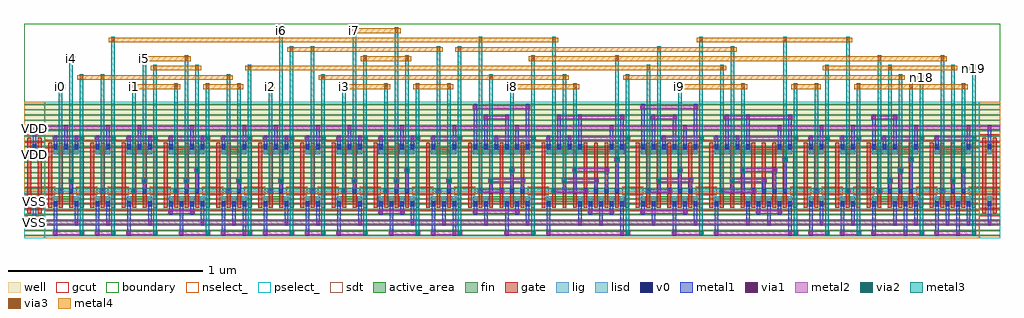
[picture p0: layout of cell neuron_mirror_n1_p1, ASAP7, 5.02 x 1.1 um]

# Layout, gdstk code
import gdstk
lib = gdstk.Library(unit=1e-6, precision=2.5e-10)
def R(c, l, rs):  # rectangles x0, y0, x1, y1
    for r in rs: c.add(gdstk.rectangle(r[:2], r[2:], *l))
def A(c, l, x, y, w, h, nx, ny, dx, dy):  # array of equal rectangles
    R(c, l, [(x+i*dx, y+j*dy, x+i*dx+w, y+j*dy+h) for i in range(nx) for j in range(ny)])
well = (1, 0)
fin = (2, 0)
gate = (7, 0)
gcut = (10, 0)
active_area = (11, 0)
nselect_ = (12, 0)
pselect_ = (13, 0)
lig = (16, 0)
lisd = (17, 0)
v0 = (18, 0)
metal1 = (19, 0)
metal2 = (20, 0)
via1 = (21, 0)
via2 = (25, 0)
metal3 = (30, 0)
via3 = (35, 0)
metal4 = (40, 0)
sdt = (88, 0)
boundary = (100, 0)

neuron_mirror_n1_p1 = lib.new_cell('neuron_mirror_n1_p1')
R(neuron_mirror_n1_p1, well, [(0,0.243,0.108,0.702), (0.108,0.243,0.324,0.702), (0.324,0.243,0.486,0.702), (0.486,0.243,0.702,0.702), (0.702,0.243,0.972,0.702), (0.972,0.243,1.188,0.702), (1.188,0.243,1.404,0.702), (1.404,0.243,1.566,0.702), (1.566,0.243,1.782,0.702), (1.782,0.243,2.052,0.702), (2.052,0.243,2.268,0.702), (2.268,0.243,2.646,0.702), (2.646,0.243,3.132,0.702), (3.132,0.243,3.51,0.702), (3.51,0.243,3.996,0.702), (3.996,0.243,4.158,0.702), (4.158,0.243,4.32,0.702), (4.32,0.243,4.644,0.702), (4.644,0.243,4.914,0.702), (4.914,0.243,5.022,0.702)])
A(neuron_mirror_n1_p1, fin, 0, 0.01, 0.108, 0.007, 1, 26, 0, 0.027)
A(neuron_mirror_n1_p1, fin, 0.108, 0.01, 0.216, 0.007, 1, 26, 0, 0.027)
A(neuron_mirror_n1_p1, fin, 0.324, 0.01, 0.162, 0.007, 1, 26, 0, 0.027)
A(neuron_mirror_n1_p1, fin, 0.486, 0.01, 0.216, 0.007, 1, 26, 0, 0.027)
A(neuron_mirror_n1_p1, fin, 0.702, 0.01, 0.27, 0.007, 1, 26, 0, 0.027)
A(neuron_mirror_n1_p1, fin, 0.972, 0.01, 0.216, 0.007, 1, 26, 0, 0.027)
A(neuron_mirror_n1_p1, fin, 1.188, 0.01, 0.216, 0.007, 1, 26, 0, 0.027)
A(neuron_mirror_n1_p1, fin, 1.404, 0.01, 0.162, 0.007, 1, 26, 0, 0.027)
A(neuron_mirror_n1_p1, fin, 1.566, 0.01, 0.216, 0.007, 1, 26, 0, 0.027)
A(neuron_mirror_n1_p1, fin, 1.782, 0.01, 0.27, 0.007, 1, 26, 0, 0.027)
A(neuron_mirror_n1_p1, fin, 2.052, 0.01, 0.216, 0.007, 1, 26, 0, 0.027)
A(neuron_mirror_n1_p1, fin, 2.268, 0.01, 0.378, 0.007, 1, 26, 0, 0.027)
A(neuron_mirror_n1_p1, fin, 2.646, 0.01, 0.486, 0.007, 1, 26, 0, 0.027)
A(neuron_mirror_n1_p1, fin, 3.132, 0.01, 0.378, 0.007, 1, 26, 0, 0.027)
A(neuron_mirror_n1_p1, fin, 3.51, 0.01, 0.486, 0.007, 1, 26, 0, 0.027)
A(neuron_mirror_n1_p1, fin, 3.996, 0.01, 0.162, 0.007, 1, 26, 0, 0.027)
A(neuron_mirror_n1_p1, fin, 4.158, 0.01, 0.162, 0.007, 1, 26, 0, 0.027)
A(neuron_mirror_n1_p1, fin, 4.32, 0.01, 0.324, 0.007, 1, 26, 0, 0.027)
A(neuron_mirror_n1_p1, fin, 4.644, 0.01, 0.27, 0.007, 1, 26, 0, 0.027)
A(neuron_mirror_n1_p1, fin, 4.914, 0.01, 0.108, 0.007, 1, 26, 0, 0.027)
A(neuron_mirror_n1_p1, gate, 0.125, 0.157, 0.02, 0.334, 89, 1, 0.054, 0)
R(neuron_mirror_n1_p1, gate, [(0.017,0.13,0.037,0.518), (0.071,0.13,0.091,0.518), (4.931,0.13,4.951,0.518), (4.985,0.13,5.005,0.518)])
R(neuron_mirror_n1_p1, gcut, [(0,0.113,0.108,0.157), (4.914,0.113,5.022,0.157), (0.108,0.14,0.324,0.184), (0.324,0.14,0.486,0.184), (0.486,0.14,0.702,0.184), (0.702,0.14,0.972,0.184), (0.972,0.14,1.188,0.184), (1.188,0.14,1.404,0.184), (1.404,0.14,1.566,0.184), (1.566,0.14,1.782,0.184), (1.782,0.14,2.052,0.184), (2.052,0.14,2.268,0.184), (2.268,0.14,2.646,0.184), (2.646,0.14,3.132,0.184), (3.132,0.14,3.51,0.184), (3.51,0.14,3.996,0.184), (3.996,0.14,4.158,0.184), (4.158,0.14,4.32,0.184), (4.32,0.14,4.644,0.184), (4.644,0.14,4.914,0.184), (0,0.221,0.108,0.265), (0.108,0.221,0.162,0.265), (0.27,0.221,0.324,0.265), (0.324,0.221,0.378,0.265), (0.432,0.221,0.486,0.265), (0.486,0.221,0.54,0.265), (0.648,0.221,0.702,0.265), (0.702,0.221,0.756,0.265), (0.918,0.221,0.972,0.265), (0.972,0.221,1.026,0.265), (1.134,0.221,1.188,0.265), (1.188,0.221,1.242,0.265), (1.35,0.221,1.404,0.265), (1.404,0.221,1.458,0.265), (1.512,0.221,1.566,0.265), (1.566,0.221,1.62,0.265), (1.728,0.221,1.782,0.265), (1.782,0.221,1.836,0.265), (1.998,0.221,2.052,0.265), (2.052,0.221,2.106,0.265), (2.214,0.221,2.268,0.265), (2.268,0.221,2.322,0.265), (2.592,0.221,2.646,0.265), (2.646,0.221,2.7,0.265), (3.078,0.221,3.132,0.265), (3.132,0.221,3.186,0.265), (3.456,0.221,3.51,0.265), (3.51,0.221,3.564,0.265), (3.942,0.221,3.996,0.265), (3.996,0.221,4.05,0.265), (4.104,0.221,4.158,0.265), (4.158,0.221,4.212,0.265), (4.266,0.221,4.32,0.265), (4.32,0.221,4.374,0.265), (4.59,0.221,4.644,0.265), (4.644,0.221,4.698,0.265), (4.86,0.221,4.914,0.265), (4.914,0.221,5.022,0.265), (0.108,0.464,0.324,0.508), (0.324,0.464,0.486,0.508), (0.486,0.464,0.702,0.508), (0.702,0.464,0.972,0.508), (0.972,0.464,1.188,0.508), (1.188,0.464,1.404,0.508), (1.404,0.464,1.566,0.508), (1.566,0.464,1.782,0.508), (1.782,0.464,2.052,0.508), (2.052,0.464,2.268,0.508), (2.268,0.464,2.646,0.508), (2.646,0.464,3.132,0.508), (3.132,0.464,3.51,0.508), (3.51,0.464,3.996,0.508), (3.996,0.464,4.158,0.508), (4.158,0.464,4.32,0.508), (4.32,0.464,4.644,0.508), (4.644,0.464,4.914,0.508), (0,0.491,0.108,0.535), (4.914,0.491,5.022,0.535)])
R(neuron_mirror_n1_p1, active_area, [(0.046,0.162,0.062,0.216), (4.96,0.162,4.976,0.216), (0.154,0.189,0.278,0.216), (0.37,0.189,0.44,0.216), (0.532,0.189,0.656,0.216), (0.748,0.189,0.926,0.216), (1.018,0.189,1.142,0.216), (1.234,0.189,1.358,0.216), (1.45,0.189,1.52,0.216), (1.612,0.189,1.736,0.216), (1.828,0.189,2.006,0.216), (2.098,0.189,2.222,0.216), (2.314,0.189,2.6,0.216), (2.692,0.189,3.086,0.216), (3.178,0.189,3.464,0.216), (3.556,0.189,3.95,0.216), (4.042,0.189,4.112,0.216), (4.204,0.189,4.274,0.216), (4.366,0.189,4.598,0.216), (4.69,0.189,4.868,0.216), (0.046,0.432,0.062,0.486), (0.154,0.432,0.278,0.459), (0.37,0.432,0.44,0.459), (0.532,0.432,0.656,0.459), (0.748,0.432,0.926,0.459), (1.018,0.432,1.142,0.459), (1.234,0.432,1.358,0.459), (1.45,0.432,1.52,0.459), (1.612,0.432,1.736,0.459), (1.828,0.432,2.006,0.459), (2.098,0.432,2.222,0.459), (2.314,0.432,2.6,0.459), (2.692,0.432,3.086,0.459), (3.178,0.432,3.464,0.459), (3.556,0.432,3.95,0.459), (4.042,0.432,4.112,0.459), (4.204,0.432,4.274,0.459), (4.366,0.432,4.598,0.459), (4.69,0.432,4.868,0.459), (4.96,0.432,4.976,0.486)])
R(neuron_mirror_n1_p1, nselect_, [(0.108,0,0.324,0.243), (0.324,0,0.486,0.243), (0.486,0,0.702,0.243), (0.702,0,0.972,0.243), (0.972,0,1.188,0.243), (1.188,0,1.404,0.243), (1.404,0,1.566,0.243), (1.566,0,1.782,0.243), (1.782,0,2.052,0.243), (2.052,0,2.268,0.243), (2.268,0,2.646,0.243), (2.646,0,3.132,0.243), (3.132,0,3.51,0.243), (3.51,0,3.996,0.243), (3.996,0,4.158,0.243), (4.158,0,4.32,0.243), (4.32,0,4.644,0.243), (4.644,0,4.914,0.243), (0,0.243,0.108,0.702), (4.914,0.243,5.022,0.702)])
R(neuron_mirror_n1_p1, pselect_, [(0,0,0.108,0.243), (4.914,0,5.022,0.243), (0.108,0.243,0.324,0.702), (0.324,0.243,0.486,0.702), (0.486,0.243,0.702,0.702), (0.702,0.243,0.972,0.702), (0.972,0.243,1.188,0.702), (1.188,0.243,1.404,0.702), (1.404,0.243,1.566,0.702), (1.566,0.243,1.782,0.702), (1.782,0.243,2.052,0.702), (2.052,0.243,2.268,0.702), (2.268,0.243,2.646,0.702), (2.646,0.243,3.132,0.702), (3.132,0.243,3.51,0.702), (3.51,0.243,3.996,0.702), (3.996,0.243,4.158,0.702), (4.158,0.243,4.32,0.702), (4.32,0.243,4.644,0.702), (4.644,0.243,4.914,0.702)])
A(neuron_mirror_n1_p1, lig, 0.232, 0.232, 0.022, 0.022, 3, 1, 0.162, 0)
A(neuron_mirror_n1_p1, lig, 0.772, 0.232, 0.022, 0.022, 3, 1, 0.054, 0)
A(neuron_mirror_n1_p1, lig, 1.312, 0.232, 0.022, 0.022, 3, 1, 0.162, 0)
A(neuron_mirror_n1_p1, lig, 1.852, 0.232, 0.022, 0.022, 3, 1, 0.054, 0)
A(neuron_mirror_n1_p1, lig, 2.338, 0.232, 0.022, 0.022, 5, 1, 0.054, 0)
A(neuron_mirror_n1_p1, lig, 2.716, 0.232, 0.022, 0.022, 7, 1, 0.054, 0)
A(neuron_mirror_n1_p1, lig, 3.202, 0.232, 0.022, 0.022, 5, 1, 0.054, 0)
A(neuron_mirror_n1_p1, lig, 3.58, 0.232, 0.022, 0.022, 7, 1, 0.054, 0)
A(neuron_mirror_n1_p1, lig, 4.066, 0.232, 0.022, 0.022, 3, 1, 0.162, 0)
A(neuron_mirror_n1_p1, lig, 4.444, 0.232, 0.022, 0.022, 3, 1, 0.054, 0)
A(neuron_mirror_n1_p1, lig, 4.714, 0.232, 0.022, 0.022, 3, 1, 0.054, 0)
R(neuron_mirror_n1_p1, lig, [(0.178,0.232,0.2,0.254), (0.61,0.232,0.632,0.254), (1.042,0.232,1.064,0.254), (1.096,0.232,1.118,0.254), (1.258,0.232,1.28,0.254), (1.69,0.232,1.712,0.254), (2.122,0.232,2.144,0.254), (2.176,0.232,2.198,0.254)])
A(neuron_mirror_n1_p1, lisd, 0.042, 0.162, 0.024, 0.054, 4, 1, 0.108, 0)
A(neuron_mirror_n1_p1, lisd, 0.42, 0.162, 0.024, 0.054, 4, 1, 0.108, 0)
A(neuron_mirror_n1_p1, lisd, 0.798, 0.162, 0.024, 0.054, 3, 1, 0.054, 0)
A(neuron_mirror_n1_p1, lisd, 1.014, 0.162, 0.024, 0.054, 3, 1, 0.054, 0)
A(neuron_mirror_n1_p1, lisd, 1.23, 0.162, 0.024, 0.054, 3, 1, 0.108, 0)
A(neuron_mirror_n1_p1, lisd, 1.5, 0.162, 0.024, 0.054, 4, 1, 0.108, 0)
A(neuron_mirror_n1_p1, lisd, 1.878, 0.162, 0.024, 0.054, 3, 1, 0.054, 0)
A(neuron_mirror_n1_p1, lisd, 2.094, 0.162, 0.024, 0.054, 3, 1, 0.054, 0)
A(neuron_mirror_n1_p1, lisd, 2.472, 0.162, 0.024, 0.054, 3, 1, 0.054, 0)
A(neuron_mirror_n1_p1, lisd, 2.85, 0.162, 0.024, 0.054, 5, 1, 0.054, 0)
A(neuron_mirror_n1_p1, lisd, 3.336, 0.162, 0.024, 0.054, 3, 1, 0.054, 0)
A(neuron_mirror_n1_p1, lisd, 3.714, 0.162, 0.024, 0.054, 5, 1, 0.054, 0)
A(neuron_mirror_n1_p1, lisd, 4.254, 0.162, 0.024, 0.054, 3, 1, 0.108, 0)
A(neuron_mirror_n1_p1, lisd, 4.686, 0.162, 0.024, 0.054, 4, 1, 0.054, 0)
A(neuron_mirror_n1_p1, lisd, 0.15, 0.432, 0.024, 0.054, 3, 1, 0.054, 0)
A(neuron_mirror_n1_p1, lisd, 0.528, 0.432, 0.024, 0.054, 3, 1, 0.054, 0)
A(neuron_mirror_n1_p1, lisd, 0.906, 0.432, 0.024, 0.054, 4, 1, 0.108, 0)
A(neuron_mirror_n1_p1, lisd, 1.608, 0.432, 0.024, 0.054, 3, 1, 0.054, 0)
A(neuron_mirror_n1_p1, lisd, 1.986, 0.432, 0.024, 0.054, 4, 1, 0.108, 0)
A(neuron_mirror_n1_p1, lisd, 2.364, 0.432, 0.024, 0.054, 5, 1, 0.054, 0)
A(neuron_mirror_n1_p1, lisd, 2.688, 0.432, 0.024, 0.054, 4, 1, 0.054, 0)
A(neuron_mirror_n1_p1, lisd, 3.174, 0.432, 0.024, 0.054, 6, 1, 0.054, 0)
A(neuron_mirror_n1_p1, lisd, 3.552, 0.432, 0.024, 0.054, 4, 1, 0.054, 0)
A(neuron_mirror_n1_p1, lisd, 4.362, 0.432, 0.024, 0.054, 3, 1, 0.054, 0)
R(neuron_mirror_n1_p1, lisd, [(2.31,0.162,2.334,0.216), (2.364,0.162,2.388,0.216), (2.688,0.162,2.712,0.216), (3.174,0.162,3.198,0.216), (3.228,0.162,3.252,0.216), (3.552,0.162,3.576,0.216), (4.038,0.162,4.062,0.216), (4.092,0.162,4.116,0.216), (4.2,0.162,4.224,0.216), (4.524,0.162,4.548,0.216), (4.578,0.162,4.602,0.216), (4.956,0.162,4.98,0.216), (0.042,0.432,0.066,0.486), (0.366,0.432,0.39,0.486), (0.42,0.432,0.444,0.486), (0.744,0.432,0.768,0.486), (0.852,0.432,0.876,0.486), (1.284,0.432,1.308,0.486), (1.338,0.432,1.362,0.486), (1.446,0.432,1.47,0.486), (1.5,0.432,1.524,0.486), (1.824,0.432,1.848,0.486), (1.932,0.432,1.956,0.486), (3.012,0.432,3.036,0.486), (3.066,0.432,3.09,0.486), (3.876,0.432,3.9,0.486), (3.93,0.432,3.954,0.486), (4.038,0.432,4.062,0.486), (4.092,0.432,4.116,0.486), (4.2,0.432,4.224,0.486), (4.254,0.432,4.278,0.486), (4.578,0.432,4.602,0.486), (4.686,0.432,4.71,0.486), (4.848,0.432,4.872,0.486), (4.956,0.432,4.98,0.486)])
A(neuron_mirror_n1_p1, v0, 0.045, 0.1665, 0.018, 0.018, 4, 1, 0.108, 0)
A(neuron_mirror_n1_p1, v0, 0.423, 0.1665, 0.018, 0.018, 4, 1, 0.108, 0)
A(neuron_mirror_n1_p1, v0, 0.801, 0.1665, 0.018, 0.018, 3, 1, 0.054, 0)
A(neuron_mirror_n1_p1, v0, 1.017, 0.1665, 0.018, 0.018, 3, 1, 0.054, 0)
A(neuron_mirror_n1_p1, v0, 1.233, 0.1665, 0.018, 0.018, 3, 1, 0.108, 0)
A(neuron_mirror_n1_p1, v0, 1.503, 0.1665, 0.018, 0.018, 4, 1, 0.108, 0)
A(neuron_mirror_n1_p1, v0, 1.881, 0.1665, 0.018, 0.018, 3, 1, 0.054, 0)
A(neuron_mirror_n1_p1, v0, 2.097, 0.1665, 0.018, 0.018, 3, 1, 0.054, 0)
A(neuron_mirror_n1_p1, v0, 2.475, 0.1665, 0.018, 0.018, 3, 1, 0.054, 0)
A(neuron_mirror_n1_p1, v0, 2.853, 0.1665, 0.018, 0.018, 5, 1, 0.054, 0)
A(neuron_mirror_n1_p1, v0, 3.339, 0.1665, 0.018, 0.018, 3, 1, 0.054, 0)
A(neuron_mirror_n1_p1, v0, 3.717, 0.1665, 0.018, 0.018, 5, 1, 0.054, 0)
A(neuron_mirror_n1_p1, v0, 4.257, 0.1665, 0.018, 0.018, 3, 1, 0.108, 0)
A(neuron_mirror_n1_p1, v0, 4.689, 0.1665, 0.018, 0.018, 4, 1, 0.054, 0)
A(neuron_mirror_n1_p1, v0, 0.234, 0.234, 0.018, 0.018, 3, 1, 0.162, 0)
A(neuron_mirror_n1_p1, v0, 0.774, 0.234, 0.018, 0.018, 3, 1, 0.054, 0)
A(neuron_mirror_n1_p1, v0, 1.314, 0.234, 0.018, 0.018, 3, 1, 0.162, 0)
A(neuron_mirror_n1_p1, v0, 1.854, 0.234, 0.018, 0.018, 3, 1, 0.054, 0)
A(neuron_mirror_n1_p1, v0, 2.34, 0.234, 0.018, 0.018, 5, 1, 0.054, 0)
A(neuron_mirror_n1_p1, v0, 2.718, 0.234, 0.018, 0.018, 7, 1, 0.054, 0)
A(neuron_mirror_n1_p1, v0, 3.204, 0.234, 0.018, 0.018, 5, 1, 0.054, 0)
A(neuron_mirror_n1_p1, v0, 3.582, 0.234, 0.018, 0.018, 7, 1, 0.054, 0)
A(neuron_mirror_n1_p1, v0, 4.068, 0.234, 0.018, 0.018, 3, 1, 0.162, 0)
A(neuron_mirror_n1_p1, v0, 4.446, 0.234, 0.018, 0.018, 3, 1, 0.054, 0)
A(neuron_mirror_n1_p1, v0, 4.716, 0.234, 0.018, 0.018, 3, 1, 0.054, 0)
A(neuron_mirror_n1_p1, v0, 0.153, 0.4635, 0.018, 0.018, 3, 1, 0.054, 0)
A(neuron_mirror_n1_p1, v0, 0.531, 0.4635, 0.018, 0.018, 3, 1, 0.054, 0)
A(neuron_mirror_n1_p1, v0, 0.909, 0.4635, 0.018, 0.018, 4, 1, 0.108, 0)
A(neuron_mirror_n1_p1, v0, 1.611, 0.4635, 0.018, 0.018, 3, 1, 0.054, 0)
A(neuron_mirror_n1_p1, v0, 1.989, 0.4635, 0.018, 0.018, 4, 1, 0.108, 0)
A(neuron_mirror_n1_p1, v0, 2.367, 0.4635, 0.018, 0.018, 5, 1, 0.054, 0)
A(neuron_mirror_n1_p1, v0, 2.691, 0.4635, 0.018, 0.018, 4, 1, 0.054, 0)
A(neuron_mirror_n1_p1, v0, 3.177, 0.4635, 0.018, 0.018, 6, 1, 0.054, 0)
A(neuron_mirror_n1_p1, v0, 3.555, 0.4635, 0.018, 0.018, 4, 1, 0.054, 0)
A(neuron_mirror_n1_p1, v0, 4.365, 0.4635, 0.018, 0.018, 3, 1, 0.054, 0)
R(neuron_mirror_n1_p1, v0, [(2.313,0.1665,2.331,0.1845), (2.367,0.1665,2.385,0.1845), (2.691,0.1665,2.709,0.1845), (3.177,0.1665,3.195,0.1845), (3.231,0.1665,3.249,0.1845), (3.555,0.1665,3.573,0.1845), (4.041,0.1665,4.059,0.1845), (4.095,0.1665,4.113,0.1845), (4.203,0.1665,4.221,0.1845), (4.527,0.1665,4.545,0.1845), (4.581,0.1665,4.599,0.1845), (4.959,0.1665,4.977,0.1845), (0.18,0.234,0.198,0.252), (0.612,0.234,0.63,0.252), (1.044,0.234,1.062,0.252), (1.098,0.234,1.116,0.252), (1.26,0.234,1.278,0.252), (1.692,0.234,1.71,0.252), (2.124,0.234,2.142,0.252), (2.178,0.234,2.196,0.252), (0.045,0.4635,0.063,0.4815), (0.369,0.4635,0.387,0.4815), (0.423,0.4635,0.441,0.4815), (0.747,0.4635,0.765,0.4815), (0.855,0.4635,0.873,0.4815), (1.287,0.4635,1.305,0.4815), (1.341,0.4635,1.359,0.4815), (1.449,0.4635,1.467,0.4815), (1.503,0.4635,1.521,0.4815), (1.827,0.4635,1.845,0.4815), (1.935,0.4635,1.953,0.4815), (3.015,0.4635,3.033,0.4815), (3.069,0.4635,3.087,0.4815), (3.879,0.4635,3.897,0.4815), (3.933,0.4635,3.951,0.4815), (4.041,0.4635,4.059,0.4815), (4.095,0.4635,4.113,0.4815), (4.203,0.4635,4.221,0.4815), (4.257,0.4635,4.275,0.4815), (4.581,0.4635,4.599,0.4815), (4.689,0.4635,4.707,0.4815), (4.851,0.4635,4.869,0.4815), (4.959,0.4635,4.977,0.4815)])
A(neuron_mirror_n1_p1, metal1, 1.017, 0.013, 0.018, 0.1765, 3, 1, 0.108, 0)
A(neuron_mirror_n1_p1, metal1, 4.041, 0.013, 0.018, 0.1765, 5, 1, 0.162, 0)
A(neuron_mirror_n1_p1, metal1, 2.151, 0.067, 0.018, 0.1225, 3, 1, 0.216, 0)
A(neuron_mirror_n1_p1, metal1, 4.743, 0.067, 0.018, 0.1225, 3, 1, 0.108, 0)
A(neuron_mirror_n1_p1, metal1, 1.044, 0.229, 0.018, 0.028, 3, 1, 0.216, 0)
A(neuron_mirror_n1_p1, metal1, 4.068, 0.229, 0.018, 0.028, 3, 1, 0.162, 0)
A(neuron_mirror_n1_p1, metal1, 0.153, 0.4585, 0.018, 0.0685, 3, 1, 0.108, 0)
A(neuron_mirror_n1_p1, metal1, 0.531, 0.4585, 0.018, 0.0685, 3, 1, 0.108, 0)
A(neuron_mirror_n1_p1, metal1, 0.585, 0.4585, 0.018, 0.1225, 3, 1, 0.27, 0)
A(neuron_mirror_n1_p1, metal1, 1.233, 0.4585, 0.018, 0.0685, 3, 1, 0.108, 0)
A(neuron_mirror_n1_p1, metal1, 1.611, 0.4585, 0.018, 0.0685, 3, 1, 0.108, 0)
A(neuron_mirror_n1_p1, metal1, 1.665, 0.4585, 0.018, 0.1225, 3, 1, 0.27, 0)
R(neuron_mirror_n1_p1, metal1, [(0.153,0.013,0.171,0.1895), (0.369,0.013,0.387,0.1895), (0.531,0.013,0.549,0.1895), (0.801,0.013,0.819,0.1895), (1.449,0.013,1.467,0.1895), (1.611,0.013,1.629,0.1895), (1.881,0.013,1.899,0.1895), (2.097,0.013,2.115,0.1895), (2.205,0.013,2.223,0.1895), (2.475,0.013,2.493,0.1895), (2.691,0.013,2.709,0.1895), (3.069,0.013,3.087,0.1895), (3.339,0.013,3.357,0.1895), (3.555,0.013,3.573,0.1895), (3.933,0.013,3.951,0.1895), (4.797,0.013,4.815,0.1895), (0.045,0.067,0.063,0.1895), (0.261,0.067,0.279,0.1895), (0.423,0.067,0.441,0.1895), (0.639,0.067,0.657,0.1895), (0.909,0.067,0.927,0.1895), (1.071,0.067,1.089,0.1895), (1.341,0.067,1.359,0.1895), (1.503,0.067,1.521,0.1895), (1.719,0.067,1.737,0.1895), (1.989,0.067,2.007,0.1895), (2.853,0.067,2.871,0.1895), (2.961,0.067,2.979,0.1895), (3.231,0.067,3.249,0.1895), (3.447,0.067,3.465,0.1895), (3.717,0.067,3.735,0.1895), (3.825,0.067,3.843,0.1895), (4.095,0.067,4.113,0.1895), (4.257,0.067,4.275,0.1895), (4.473,0.067,4.491,0.1895), (4.581,0.067,4.599,0.1895), (0.747,0.121,0.765,0.1895), (0.855,0.121,0.873,0.1895), (1.827,0.121,1.845,0.1895), (1.935,0.121,1.953,0.1895), (2.313,0.121,2.331,0.1895), (2.529,0.121,2.547,0.1895), (2.907,0.121,2.925,0.1895), (3.015,0.121,3.033,0.1895), (3.177,0.121,3.195,0.1895), (3.393,0.121,3.411,0.1895), (3.771,0.121,3.789,0.1895), (3.879,0.121,3.897,0.1895), (0.18,0.229,0.198,0.257), (0.234,0.229,0.252,0.311), (0.396,0.229,0.414,0.257), (0.558,0.229,0.576,0.257), (0.612,0.229,0.63,0.311), (0.774,0.229,0.792,0.257), (0.828,0.229,0.846,0.311), (0.882,0.229,0.9,0.365), (1.098,0.229,1.116,0.311), (1.314,0.229,1.332,0.311), (1.638,0.229,1.656,0.257), (1.692,0.229,1.71,0.311), (1.854,0.229,1.872,0.257), (1.908,0.229,1.926,0.311), (1.962,0.229,1.98,0.365), (2.124,0.229,2.142,0.257), (2.178,0.229,2.196,0.311), (2.34,0.229,2.358,0.257), (2.394,0.229,2.412,0.311), (2.448,0.229,2.466,0.257), (2.502,0.229,2.52,0.365), (2.556,0.229,2.574,0.311), (2.718,0.229,2.736,0.257), (2.772,0.229,2.79,0.311), (2.826,0.229,2.844,0.365), (2.88,0.229,2.898,0.257), (2.934,0.229,2.952,0.311), (2.988,0.229,3.006,0.365), (3.042,0.229,3.06,0.419), (3.204,0.229,3.222,0.257), (3.258,0.229,3.276,0.311), (3.312,0.229,3.33,0.257), (3.366,0.229,3.384,0.365), (3.42,0.229,3.438,0.311), (3.582,0.229,3.6,0.257), (3.636,0.229,3.654,0.311), (3.69,0.229,3.708,0.365), (3.744,0.229,3.762,0.257), (3.798,0.229,3.816,0.311), (3.852,0.229,3.87,0.365), (3.906,0.229,3.924,0.419), (4.446,0.229,4.464,0.311), (4.5,0.229,4.518,0.365), (4.554,0.229,4.572,0.419), (4.716,0.229,4.734,0.257), (4.77,0.229,4.788,0.311), (4.824,0.229,4.842,0.365), (0.045,0.4585,0.063,0.581), (0.207,0.4585,0.225,0.581), (0.423,0.4585,0.441,0.581), (0.909,0.4585,0.927,0.527), (1.017,0.4585,1.035,0.527), (1.287,0.4585,1.305,0.581), (1.503,0.4585,1.521,0.581), (1.989,0.4585,2.007,0.527), (2.097,0.4585,2.115,0.527), (2.313,0.4585,2.331,0.689), (2.367,0.4585,2.385,0.635), (2.421,0.4585,2.439,0.527), (2.475,0.4585,2.493,0.635), (2.529,0.4585,2.547,0.581), (2.583,0.4585,2.601,0.689), (2.691,0.4585,2.709,0.527), (2.745,0.4585,2.763,0.635), (2.799,0.4585,2.817,0.527), (2.853,0.4585,2.871,0.635), (3.015,0.4585,3.033,0.581), (3.069,0.4585,3.087,0.635), (3.177,0.4585,3.195,0.689), (3.231,0.4585,3.249,0.635), (3.285,0.4585,3.303,0.527), (3.339,0.4585,3.357,0.635), (3.393,0.4585,3.411,0.581), (3.447,0.4585,3.465,0.689), (3.555,0.4585,3.573,0.527), (3.609,0.4585,3.627,0.635), (3.663,0.4585,3.681,0.527), (3.717,0.4585,3.735,0.635), (3.879,0.4585,3.897,0.581), (3.933,0.4585,3.951,0.635), (4.041,0.4585,4.059,0.527), (4.095,0.4585,4.113,0.581), (4.203,0.4585,4.221,0.527), (4.257,0.4585,4.275,0.581), (4.365,0.4585,4.383,0.635), (4.419,0.4585,4.437,0.527), (4.473,0.4585,4.491,0.635), (4.581,0.4585,4.599,0.581), (4.689,0.4585,4.707,0.527), (4.851,0.4585,4.869,0.581), (4.959,0.4585,4.977,0.581)])
A(neuron_mirror_n1_p1, metal2, 0.796, 0.018, 0.163, 0.018, 3, 1, 0.216, 0)
A(neuron_mirror_n1_p1, metal2, 0.742, 0.126, 0.136, 0.018, 3, 1, 1.08, 0)
A(neuron_mirror_n1_p1, metal2, 1.039, 0.234, 0.028, 0.018, 3, 1, 0.216, 0)
A(neuron_mirror_n1_p1, metal2, 4.063, 0.234, 0.028, 0.018, 3, 1, 0.162, 0)
A(neuron_mirror_n1_p1, metal2, 0.58, 0.558, 0.028, 0.018, 3, 1, 0.27, 0)
A(neuron_mirror_n1_p1, metal2, 1.66, 0.558, 0.028, 0.018, 3, 1, 0.27, 0)
R(neuron_mirror_n1_p1, metal2, [(0.148,0.018,0.311,0.036), (0.364,0.018,0.473,0.036), (0.526,0.018,0.689,0.036), (1.444,0.018,1.553,0.036), (1.606,0.018,1.769,0.036), (1.876,0.018,2.039,0.036), (2.092,0.018,2.255,0.036), (2.47,0.018,2.633,0.036), (2.686,0.018,3.119,0.036), (3.334,0.018,3.497,0.036), (3.55,0.018,3.983,0.036), (4.036,0.018,4.145,0.036), (4.198,0.018,4.307,0.036), (4.36,0.018,4.631,0.036), (4.684,0.018,4.901,0.036), (0,0.072,5.022,0.09), (0.04,0.072,0.068,0.09), (0.256,0.072,0.284,0.09), (0.418,0.072,0.446,0.09), (0.634,0.072,0.662,0.09), (0.904,0.072,0.932,0.09), (1.066,0.072,1.094,0.09), (1.336,0.072,1.364,0.09), (1.498,0.072,1.526,0.09), (1.714,0.072,1.742,0.09), (1.984,0.072,2.012,0.09), (2.146,0.072,2.174,0.09), (2.362,0.072,2.606,0.09), (2.848,0.072,2.984,0.09), (3.226,0.072,3.47,0.09), (3.712,0.072,3.848,0.09), (4.09,0.072,4.118,0.09), (4.252,0.072,4.28,0.09), (4.468,0.072,4.604,0.09), (4.738,0.072,4.874,0.09), (4.954,0.072,4.982,0.09), (2.308,0.126,2.552,0.144), (3.172,0.126,3.416,0.144), (3.766,0.126,3.902,0.144), (0.175,0.234,0.203,0.252), (0.391,0.234,0.419,0.252), (0.553,0.234,0.581,0.252), (0.769,0.234,0.797,0.252), (1.633,0.234,1.661,0.252), (1.849,0.234,1.877,0.252), (2.119,0.234,2.147,0.252), (2.335,0.234,2.471,0.252), (2.713,0.234,2.903,0.252), (3.199,0.234,3.335,0.252), (3.577,0.234,3.767,0.252), (4.711,0.234,4.739,0.252), (0.229,0.288,0.257,0.306), (0.607,0.288,0.635,0.306), (0.823,0.288,0.851,0.306), (1.093,0.288,1.121,0.306), (1.309,0.288,1.337,0.306), (1.687,0.288,1.715,0.306), (1.903,0.288,1.931,0.306), (2.173,0.288,2.201,0.306), (2.389,0.288,2.579,0.306), (2.767,0.288,2.957,0.306), (3.253,0.288,3.443,0.306), (3.631,0.288,3.821,0.306), (4.441,0.288,4.469,0.306), (4.765,0.288,4.793,0.306), (0.877,0.342,0.905,0.36), (1.957,0.342,1.985,0.36), (2.497,0.342,2.525,0.36), (2.821,0.342,3.011,0.36), (3.361,0.342,3.389,0.36), (3.685,0.342,3.875,0.36), (4.495,0.342,4.523,0.36), (4.819,0.342,4.847,0.36), (3.037,0.396,3.065,0.414), (3.901,0.396,3.929,0.414), (4.549,0.396,4.577,0.414), (0.148,0.504,0.311,0.522), (0.364,0.504,0.473,0.522), (0.526,0.504,0.689,0.522), (0.742,0.504,0.959,0.522), (1.012,0.504,1.175,0.522), (1.228,0.504,1.391,0.522), (1.444,0.504,1.553,0.522), (1.606,0.504,1.769,0.522), (1.822,0.504,2.039,0.522), (2.092,0.504,2.255,0.522), (2.416,0.504,2.633,0.522), (2.686,0.504,3.119,0.522), (3.28,0.504,3.497,0.522), (3.55,0.504,3.983,0.522), (4.036,0.504,4.145,0.522), (4.198,0.504,4.307,0.522), (4.414,0.504,4.631,0.522), (4.684,0.504,4.901,0.522), (0,0.558,5.022,0.576), (0.04,0.558,0.068,0.576), (0.202,0.558,0.23,0.576), (0.418,0.558,0.446,0.576), (1.282,0.558,1.31,0.576), (1.498,0.558,1.526,0.576), (2.524,0.558,2.552,0.576), (3.01,0.558,3.038,0.576), (3.388,0.558,3.416,0.576), (3.874,0.558,3.902,0.576), (4.09,0.558,4.118,0.576), (4.252,0.558,4.28,0.576), (4.576,0.558,4.604,0.576), (4.846,0.558,4.874,0.576), (4.954,0.558,4.982,0.576), (2.362,0.612,2.498,0.63), (2.74,0.612,3.092,0.63), (3.226,0.612,3.362,0.63), (3.604,0.612,3.956,0.63), (4.36,0.612,4.496,0.63), (2.308,0.666,2.606,0.684), (3.172,0.666,3.47,0.684)])
A(neuron_mirror_n1_p1, via1, 1.017, 0.018, 0.018, 0.018, 3, 1, 0.108, 0)
A(neuron_mirror_n1_p1, via1, 4.041, 0.018, 0.018, 0.018, 5, 1, 0.162, 0)
A(neuron_mirror_n1_p1, via1, 2.151, 0.072, 0.018, 0.018, 3, 1, 0.216, 0)
A(neuron_mirror_n1_p1, via1, 4.743, 0.072, 0.018, 0.018, 3, 1, 0.108, 0)
A(neuron_mirror_n1_p1, via1, 1.044, 0.234, 0.018, 0.018, 3, 1, 0.216, 0)
A(neuron_mirror_n1_p1, via1, 4.068, 0.234, 0.018, 0.018, 3, 1, 0.162, 0)
A(neuron_mirror_n1_p1, via1, 0.153, 0.504, 0.018, 0.018, 3, 1, 0.108, 0)
A(neuron_mirror_n1_p1, via1, 0.531, 0.504, 0.018, 0.018, 3, 1, 0.108, 0)
A(neuron_mirror_n1_p1, via1, 1.233, 0.504, 0.018, 0.018, 3, 1, 0.108, 0)
A(neuron_mirror_n1_p1, via1, 1.611, 0.504, 0.018, 0.018, 3, 1, 0.108, 0)
A(neuron_mirror_n1_p1, via1, 0.585, 0.558, 0.018, 0.018, 3, 1, 0.27, 0)
A(neuron_mirror_n1_p1, via1, 1.665, 0.558, 0.018, 0.018, 3, 1, 0.27, 0)
R(neuron_mirror_n1_p1, via1, [(0.153,0.018,0.171,0.036), (0.369,0.018,0.387,0.036), (0.531,0.018,0.549,0.036), (0.801,0.018,0.819,0.036), (1.449,0.018,1.467,0.036), (1.611,0.018,1.629,0.036), (1.881,0.018,1.899,0.036), (2.097,0.018,2.115,0.036), (2.205,0.018,2.223,0.036), (2.475,0.018,2.493,0.036), (2.691,0.018,2.709,0.036), (3.069,0.018,3.087,0.036), (3.339,0.018,3.357,0.036), (3.555,0.018,3.573,0.036), (3.933,0.018,3.951,0.036), (4.797,0.018,4.815,0.036), (0.045,0.072,0.063,0.09), (0.261,0.072,0.279,0.09), (0.423,0.072,0.441,0.09), (0.639,0.072,0.657,0.09), (0.909,0.072,0.927,0.09), (1.071,0.072,1.089,0.09), (1.341,0.072,1.359,0.09), (1.503,0.072,1.521,0.09), (1.719,0.072,1.737,0.09), (1.989,0.072,2.007,0.09), (2.853,0.072,2.871,0.09), (2.961,0.072,2.979,0.09), (3.231,0.072,3.249,0.09), (3.447,0.072,3.465,0.09), (3.717,0.072,3.735,0.09), (3.825,0.072,3.843,0.09), (4.095,0.072,4.113,0.09), (4.257,0.072,4.275,0.09), (4.473,0.072,4.491,0.09), (4.581,0.072,4.599,0.09), (0.747,0.126,0.765,0.144), (0.855,0.126,0.873,0.144), (1.827,0.126,1.845,0.144), (1.935,0.126,1.953,0.144), (2.313,0.126,2.331,0.144), (2.529,0.126,2.547,0.144), (2.907,0.126,2.925,0.144), (3.015,0.126,3.033,0.144), (3.177,0.126,3.195,0.144), (3.393,0.126,3.411,0.144), (3.771,0.126,3.789,0.144), (3.879,0.126,3.897,0.144), (0.18,0.234,0.198,0.252), (0.396,0.234,0.414,0.252), (0.558,0.234,0.576,0.252), (0.774,0.234,0.792,0.252), (1.638,0.234,1.656,0.252), (1.854,0.234,1.872,0.252), (2.124,0.234,2.142,0.252), (2.34,0.234,2.358,0.252), (2.448,0.234,2.466,0.252), (2.718,0.234,2.736,0.252), (2.88,0.234,2.898,0.252), (3.204,0.234,3.222,0.252), (3.312,0.234,3.33,0.252), (3.582,0.234,3.6,0.252), (3.744,0.234,3.762,0.252), (4.716,0.234,4.734,0.252), (0.234,0.288,0.252,0.306), (0.612,0.288,0.63,0.306), (0.828,0.288,0.846,0.306), (1.098,0.288,1.116,0.306), (1.314,0.288,1.332,0.306), (1.692,0.288,1.71,0.306), (1.908,0.288,1.926,0.306), (2.178,0.288,2.196,0.306), (2.394,0.288,2.412,0.306), (2.556,0.288,2.574,0.306), (2.772,0.288,2.79,0.306), (2.934,0.288,2.952,0.306), (3.258,0.288,3.276,0.306), (3.42,0.288,3.438,0.306), (3.636,0.288,3.654,0.306), (3.798,0.288,3.816,0.306), (4.446,0.288,4.464,0.306), (4.77,0.288,4.788,0.306), (0.882,0.342,0.9,0.36), (1.962,0.342,1.98,0.36), (2.502,0.342,2.52,0.36), (2.826,0.342,2.844,0.36), (2.988,0.342,3.006,0.36), (3.366,0.342,3.384,0.36), (3.69,0.342,3.708,0.36), (3.852,0.342,3.87,0.36), (4.5,0.342,4.518,0.36), (4.824,0.342,4.842,0.36), (3.042,0.396,3.06,0.414), (3.906,0.396,3.924,0.414), (4.554,0.396,4.572,0.414), (0.909,0.504,0.927,0.522), (1.017,0.504,1.035,0.522), (1.989,0.504,2.007,0.522), (2.097,0.504,2.115,0.522), (2.421,0.504,2.439,0.522), (2.691,0.504,2.709,0.522), (2.799,0.504,2.817,0.522), (3.285,0.504,3.303,0.522), (3.555,0.504,3.573,0.522), (3.663,0.504,3.681,0.522), (4.041,0.504,4.059,0.522), (4.203,0.504,4.221,0.522), (4.419,0.504,4.437,0.522), (4.689,0.504,4.707,0.522), (0.045,0.558,0.063,0.576), (0.207,0.558,0.225,0.576), (0.423,0.558,0.441,0.576), (1.287,0.558,1.305,0.576), (1.503,0.558,1.521,0.576), (2.529,0.558,2.547,0.576), (3.015,0.558,3.033,0.576), (3.393,0.558,3.411,0.576), (3.879,0.558,3.897,0.576), (4.095,0.558,4.113,0.576), (4.257,0.558,4.275,0.576), (4.581,0.558,4.599,0.576), (4.851,0.558,4.869,0.576), (4.959,0.558,4.977,0.576), (2.367,0.612,2.385,0.63), (2.475,0.612,2.493,0.63), (2.745,0.612,2.763,0.63), (2.853,0.612,2.871,0.63), (3.069,0.612,3.087,0.63), (3.231,0.612,3.249,0.63), (3.339,0.612,3.357,0.63), (3.609,0.612,3.627,0.63), (3.717,0.612,3.735,0.63), (3.933,0.612,3.951,0.63), (4.365,0.612,4.383,0.63), (4.473,0.612,4.491,0.63), (2.313,0.666,2.331,0.684), (2.583,0.666,2.601,0.684), (3.177,0.666,3.195,0.684), (3.447,0.666,3.465,0.684)])
A(neuron_mirror_n1_p1, via2, 0.936, 0.018, 0.018, 0.018, 3, 2, 0.216, 0.486)
A(neuron_mirror_n1_p1, via2, 3.96, 0.018, 0.018, 0.018, 3, 2, 0.162, 0.486)
A(neuron_mirror_n1_p1, via2, 1.044, 0.234, 0.018, 0.018, 3, 1, 0.216, 0)
A(neuron_mirror_n1_p1, via2, 4.068, 0.234, 0.018, 0.018, 3, 1, 0.162, 0)
R(neuron_mirror_n1_p1, via2, [(0.288,0.018,0.306,0.036), (0.45,0.018,0.468,0.036), (0.666,0.018,0.684,0.036), (1.53,0.018,1.548,0.036), (1.746,0.018,1.764,0.036), (2.016,0.018,2.034,0.036), (2.232,0.018,2.25,0.036), (2.61,0.018,2.628,0.036), (3.096,0.018,3.114,0.036), (3.474,0.018,3.492,0.036), (4.608,0.018,4.626,0.036), (4.878,0.018,4.896,0.036), (0.18,0.234,0.198,0.252), (0.396,0.234,0.414,0.252), (0.558,0.234,0.576,0.252), (0.774,0.234,0.792,0.252), (1.638,0.234,1.656,0.252), (1.854,0.234,1.872,0.252), (2.124,0.234,2.142,0.252), (2.34,0.234,2.358,0.252), (2.718,0.234,2.736,0.252), (3.204,0.234,3.222,0.252), (3.582,0.234,3.6,0.252), (4.716,0.234,4.734,0.252), (0.234,0.288,0.252,0.306), (0.612,0.288,0.63,0.306), (0.828,0.288,0.846,0.306), (1.098,0.288,1.116,0.306), (1.314,0.288,1.332,0.306), (1.692,0.288,1.71,0.306), (1.908,0.288,1.926,0.306), (2.178,0.288,2.196,0.306), (2.394,0.288,2.412,0.306), (2.772,0.288,2.79,0.306), (3.258,0.288,3.276,0.306), (3.636,0.288,3.654,0.306), (4.446,0.288,4.464,0.306), (4.77,0.288,4.788,0.306), (0.882,0.342,0.9,0.36), (1.962,0.342,1.98,0.36), (2.502,0.342,2.52,0.36), (2.826,0.342,2.844,0.36), (3.366,0.342,3.384,0.36), (3.69,0.342,3.708,0.36), (4.5,0.342,4.518,0.36), (4.824,0.342,4.842,0.36), (3.042,0.396,3.06,0.414), (3.906,0.396,3.924,0.414), (4.554,0.396,4.572,0.414), (0.288,0.504,0.306,0.522), (0.45,0.504,0.468,0.522), (0.666,0.504,0.684,0.522), (1.53,0.504,1.548,0.522), (1.746,0.504,1.764,0.522), (2.016,0.504,2.034,0.522), (2.232,0.504,2.25,0.522), (2.61,0.504,2.628,0.522), (3.096,0.504,3.114,0.522), (3.474,0.504,3.492,0.522), (4.608,0.504,4.626,0.522), (4.878,0.504,4.896,0.522)])
A(neuron_mirror_n1_p1, metal3, 0.936, 0.013, 0.018, 0.514, 3, 1, 0.216, 0)
A(neuron_mirror_n1_p1, metal3, 3.96, 0.013, 0.018, 0.514, 3, 1, 0.162, 0)
A(neuron_mirror_n1_p1, metal3, 2.718, 0.229, 0.018, 0.808, 3, 1, 0.756, 0)
R(neuron_mirror_n1_p1, metal3, [(0.288,0.013,0.306,0.527), (0.45,0.013,0.468,0.527), (0.666,0.013,0.684,0.527), (1.53,0.013,1.548,0.527), (1.746,0.013,1.764,0.527), (2.016,0.013,2.034,0.527), (2.232,0.013,2.25,0.527), (2.61,0.013,2.628,0.527), (3.096,0.013,3.114,0.527), (3.474,0.013,3.492,0.527), (4.608,0.013,4.626,0.527), (4.878,0.013,4.896,0.527), (0.18,0.229,0.198,0.797), (0.288,0.229,0.306,0.845), (0.396,0.229,0.414,0.845), (0.45,0.229,0.468,1.037), (0.558,0.229,0.576,0.797), (0.666,0.229,0.684,0.893), (0.774,0.229,0.792,0.797), (0.936,0.229,0.954,0.797), (1.044,0.229,1.062,0.845), (1.152,0.229,1.17,0.893), (1.26,0.229,1.278,0.797), (1.368,0.229,1.386,0.989), (1.476,0.229,1.494,0.989), (1.53,0.229,1.548,0.845), (1.638,0.229,1.656,0.797), (1.746,0.229,1.764,0.941), (1.854,0.229,1.872,0.797), (2.016,0.229,2.034,0.797), (2.124,0.229,2.142,0.989), (2.232,0.229,2.25,0.989), (2.34,0.229,2.358,1.037), (2.61,0.229,2.628,0.941), (3.096,0.229,3.114,0.845), (3.204,0.229,3.222,0.893), (3.582,0.229,3.6,0.893), (3.96,0.229,3.978,0.797), (4.068,0.229,4.086,0.797), (4.122,0.229,4.14,0.893), (4.284,0.229,4.302,0.797), (4.392,0.229,4.41,0.941), (4.608,0.229,4.626,0.845), (4.716,0.229,4.734,0.941), (4.878,0.229,4.896,0.893), (0.234,0.283,0.252,0.941), (0.612,0.283,0.63,0.941), (0.828,0.283,0.846,0.941), (1.098,0.283,1.116,0.797), (1.314,0.283,1.332,1.085), (1.692,0.283,1.71,1.085), (1.908,0.283,1.926,1.085), (2.178,0.283,2.196,0.797), (2.394,0.283,2.412,0.845), (2.772,0.283,2.79,0.845), (3.258,0.283,3.276,0.989), (3.636,0.283,3.654,0.989), (4.446,0.283,4.464,0.893), (4.77,0.283,4.788,0.893), (0.882,0.337,0.9,0.893), (1.962,0.337,1.98,0.941), (2.502,0.337,2.52,0.797), (2.826,0.337,2.844,0.797), (3.366,0.337,3.384,0.797), (3.69,0.337,3.708,0.797), (4.5,0.337,4.518,0.845), (4.824,0.337,4.842,0.797), (3.042,0.391,3.06,0.941), (3.906,0.391,3.924,1.037), (4.554,0.391,4.572,0.797)])
A(neuron_mirror_n1_p1, via3, 0.774, 0.768, 0.018, 0.024, 4, 1, 0.162, 0)
A(neuron_mirror_n1_p1, via3, 1.854, 0.768, 0.018, 0.024, 3, 1, 0.162, 0)
A(neuron_mirror_n1_p1, via3, 4.284, 0.768, 0.018, 0.024, 3, 1, 0.27, 0)
A(neuron_mirror_n1_p1, via3, 4.122, 0.864, 0.018, 0.024, 3, 1, 0.324, 0)
R(neuron_mirror_n1_p1, via3, [(0.18,0.768,0.198,0.792), (0.558,0.768,0.576,0.792), (1.638,0.768,1.656,0.792), (2.502,0.768,2.52,0.792), (2.826,0.768,2.844,0.792), (3.366,0.768,3.384,0.792), (3.69,0.768,3.708,0.792), (3.96,0.768,3.978,0.792), (4.068,0.768,4.086,0.792), (0.288,0.816,0.306,0.84), (0.396,0.816,0.414,0.84), (1.044,0.816,1.062,0.84), (1.53,0.816,1.548,0.84), (2.394,0.816,2.412,0.84), (2.772,0.816,2.79,0.84), (3.096,0.816,3.114,0.84), (4.5,0.816,4.518,0.84), (4.608,0.816,4.626,0.84), (0.666,0.864,0.684,0.888), (0.882,0.864,0.9,0.888), (1.152,0.864,1.17,0.888), (3.204,0.864,3.222,0.888), (3.582,0.864,3.6,0.888), (4.878,0.864,4.896,0.888), (0.234,0.912,0.252,0.936), (0.612,0.912,0.63,0.936), (0.828,0.912,0.846,0.936), (1.746,0.912,1.764,0.936), (1.962,0.912,1.98,0.936), (2.61,0.912,2.628,0.936), (3.042,0.912,3.06,0.936), (4.392,0.912,4.41,0.936), (4.716,0.912,4.734,0.936), (1.368,0.96,1.386,0.984), (1.476,0.96,1.494,0.984), (2.124,0.96,2.142,0.984), (2.232,0.96,2.25,0.984), (3.258,0.96,3.276,0.984), (3.636,0.96,3.654,0.984), (0.45,1.008,0.468,1.032), (2.34,1.008,2.358,1.032), (2.718,1.008,2.736,1.032), (3.474,1.008,3.492,1.032), (3.906,1.008,3.924,1.032), (4.23,1.008,4.248,1.032), (1.314,1.056,1.332,1.08), (1.692,1.056,1.71,1.08), (1.908,1.056,1.926,1.08)])
R(neuron_mirror_n1_p1, metal4, [(0.167,0.768,0.211,0.792), (0.545,0.768,0.805,0.792), (0.923,0.768,1.129,0.792), (1.247,0.768,1.291,0.792), (1.625,0.768,1.885,0.792), (2.003,0.768,2.209,0.792), (2.489,0.768,2.857,0.792), (3.353,0.768,3.721,0.792), (3.947,0.768,4.099,0.792), (4.271,0.768,4.855,0.792), (0.275,0.816,1.075,0.84), (1.517,0.816,2.803,0.84), (3.083,0.816,4.531,0.84), (4.595,0.816,4.639,0.84), (0.653,0.864,0.913,0.888), (1.139,0.864,3.613,0.888), (4.109,0.864,4.801,0.888), (4.865,0.864,4.909,0.888), (0.221,0.912,0.265,0.936), (0.599,0.912,0.859,0.936), (1.733,0.912,1.993,0.936), (2.597,0.912,4.747,0.936), (1.355,0.96,2.155,0.984), (2.219,0.96,3.667,0.984), (0.437,1.008,2.749,1.032), (3.461,1.008,4.261,1.032), (1.301,1.056,1.345,1.08), (1.679,1.056,1.939,1.08)])
A(neuron_mirror_n1_p1, sdt, 0.15, 0.189, 0.024, 0.027, 3, 1, 0.108, 0)
A(neuron_mirror_n1_p1, sdt, 0.42, 0.189, 0.024, 0.027, 4, 1, 0.108, 0)
A(neuron_mirror_n1_p1, sdt, 0.798, 0.189, 0.024, 0.027, 3, 1, 0.054, 0)
A(neuron_mirror_n1_p1, sdt, 1.014, 0.189, 0.024, 0.027, 3, 1, 0.054, 0)
A(neuron_mirror_n1_p1, sdt, 1.23, 0.189, 0.024, 0.027, 3, 1, 0.108, 0)
A(neuron_mirror_n1_p1, sdt, 1.5, 0.189, 0.024, 0.027, 4, 1, 0.108, 0)
A(neuron_mirror_n1_p1, sdt, 1.878, 0.189, 0.024, 0.027, 3, 1, 0.054, 0)
A(neuron_mirror_n1_p1, sdt, 2.094, 0.189, 0.024, 0.027, 3, 1, 0.054, 0)
A(neuron_mirror_n1_p1, sdt, 2.472, 0.189, 0.024, 0.027, 3, 1, 0.054, 0)
A(neuron_mirror_n1_p1, sdt, 2.85, 0.189, 0.024, 0.027, 5, 1, 0.054, 0)
A(neuron_mirror_n1_p1, sdt, 3.336, 0.189, 0.024, 0.027, 3, 1, 0.054, 0)
A(neuron_mirror_n1_p1, sdt, 3.714, 0.189, 0.024, 0.027, 5, 1, 0.054, 0)
A(neuron_mirror_n1_p1, sdt, 4.254, 0.189, 0.024, 0.027, 3, 1, 0.108, 0)
A(neuron_mirror_n1_p1, sdt, 4.686, 0.189, 0.024, 0.027, 4, 1, 0.054, 0)
A(neuron_mirror_n1_p1, sdt, 0.15, 0.432, 0.024, 0.027, 3, 1, 0.054, 0)
A(neuron_mirror_n1_p1, sdt, 0.528, 0.432, 0.024, 0.027, 3, 1, 0.054, 0)
A(neuron_mirror_n1_p1, sdt, 0.906, 0.432, 0.024, 0.027, 4, 1, 0.108, 0)
A(neuron_mirror_n1_p1, sdt, 1.608, 0.432, 0.024, 0.027, 3, 1, 0.054, 0)
A(neuron_mirror_n1_p1, sdt, 1.986, 0.432, 0.024, 0.027, 4, 1, 0.108, 0)
A(neuron_mirror_n1_p1, sdt, 2.364, 0.432, 0.024, 0.027, 5, 1, 0.054, 0)
A(neuron_mirror_n1_p1, sdt, 2.688, 0.432, 0.024, 0.027, 4, 1, 0.054, 0)
A(neuron_mirror_n1_p1, sdt, 3.174, 0.432, 0.024, 0.027, 6, 1, 0.054, 0)
A(neuron_mirror_n1_p1, sdt, 3.552, 0.432, 0.024, 0.027, 4, 1, 0.054, 0)
A(neuron_mirror_n1_p1, sdt, 4.362, 0.432, 0.024, 0.027, 3, 1, 0.054, 0)
R(neuron_mirror_n1_p1, sdt, [(0.042,0.162,0.066,0.216), (4.956,0.162,4.98,0.216), (2.31,0.189,2.334,0.216), (2.364,0.189,2.388,0.216), (2.688,0.189,2.712,0.216), (3.174,0.189,3.198,0.216), (3.228,0.189,3.252,0.216), (3.552,0.189,3.576,0.216), (4.038,0.189,4.062,0.216), (4.092,0.189,4.116,0.216), (4.2,0.189,4.224,0.216), (4.524,0.189,4.548,0.216), (4.578,0.189,4.602,0.216), (0.042,0.432,0.066,0.486), (0.366,0.432,0.39,0.459), (0.42,0.432,0.444,0.459), (0.744,0.432,0.768,0.459), (0.852,0.432,0.876,0.459), (1.284,0.432,1.308,0.459), (1.338,0.432,1.362,0.459), (1.446,0.432,1.47,0.459), (1.5,0.432,1.524,0.459), (1.824,0.432,1.848,0.459), (1.932,0.432,1.956,0.459), (3.012,0.432,3.036,0.459), (3.066,0.432,3.09,0.459), (3.876,0.432,3.9,0.459), (3.93,0.432,3.954,0.459), (4.038,0.432,4.062,0.459), (4.092,0.432,4.116,0.459), (4.2,0.432,4.224,0.459), (4.254,0.432,4.278,0.459), (4.578,0.432,4.602,0.459), (4.686,0.432,4.71,0.459), (4.848,0.432,4.872,0.459), (4.956,0.432,4.98,0.486)])
R(neuron_mirror_n1_p1, boundary, [(0,0,5.022,1.104)])
neuron_mirror_n1_p1.add(gdstk.Label('VSS', (0.054,0.081), layer=20, texttype=251))
neuron_mirror_n1_p1.add(gdstk.Label('VDD', (0.054,0.567), layer=20, texttype=251))
neuron_mirror_n1_p1.add(gdstk.Label('VSS', (0.054,0.189), layer=3, texttype=251))
neuron_mirror_n1_p1.add(gdstk.Label('VDD', (0.054,0.432), layer=1, texttype=251))
neuron_mirror_n1_p1.add(gdstk.Label('i0', (0.189,0.78), layer=40, texttype=251))
neuron_mirror_n1_p1.add(gdstk.Label('i4', (0.243,0.924), layer=40, texttype=251))
neuron_mirror_n1_p1.add(gdstk.Label('i1', (0.567,0.78), layer=40, texttype=251))
neuron_mirror_n1_p1.add(gdstk.Label('i5', (0.621,0.924), layer=40, texttype=251))
neuron_mirror_n1_p1.add(gdstk.Label('i2', (1.269,0.78), layer=40, texttype=251))
neuron_mirror_n1_p1.add(gdstk.Label('i6', (1.323,1.068), layer=40, texttype=251))
neuron_mirror_n1_p1.add(gdstk.Label('i3', (1.647,0.78), layer=40, texttype=251))
neuron_mirror_n1_p1.add(gdstk.Label('i7', (1.701,1.068), layer=40, texttype=251))
neuron_mirror_n1_p1.add(gdstk.Label('i8', (2.511,0.78), layer=40, texttype=251))
neuron_mirror_n1_p1.add(gdstk.Label('i9', (3.375,0.78), layer=40, texttype=251))
neuron_mirror_n1_p1.add(gdstk.Label('n18', (4.617,0.828), layer=40, texttype=251))
neuron_mirror_n1_p1.add(gdstk.Label('n19', (4.887,0.876), layer=40, texttype=251))

lib.write_gds('neuron_mirror_n1_p1.gds')
